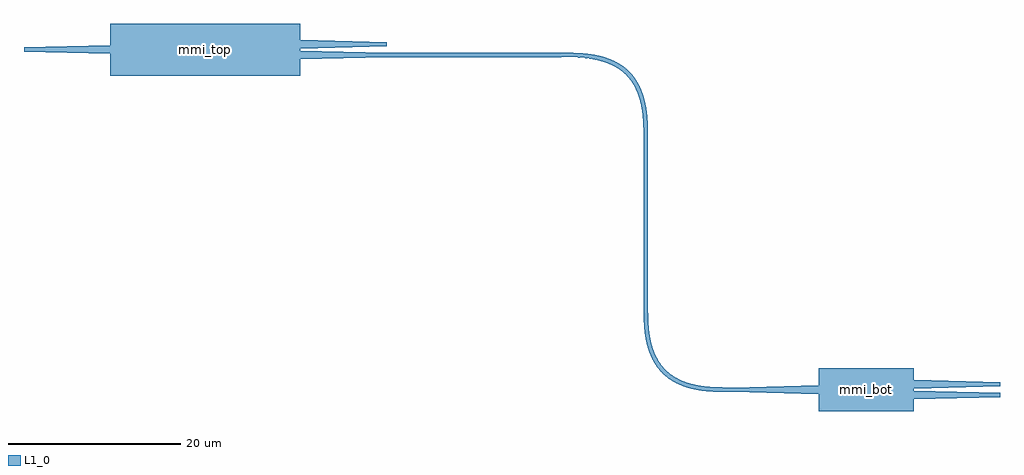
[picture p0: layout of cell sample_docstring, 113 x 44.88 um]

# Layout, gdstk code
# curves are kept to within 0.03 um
from math import pi, radians
import gdstk
lib = gdstk.Library(unit=1e-6, precision=1e-09)
def R(c, l, rs):  # rectangles x0, y0, x1, y1
    for r in rs: c.add(gdstk.rectangle(r[:2], r[2:], *l))
def P(c, l, *ps):  # polygons
    for p in ps: c.add(gdstk.Polygon(p, *l))
L1_0 = (1, 0)

mmi1x2_length_mmi11_widt = lib.new_cell('mmi1x2_length_mmi11_width_mmi5')
R(mmi1x2_length_mmi11_widt, L1_0, [(-5.5,-2.5,5.5,2.5)])
P(mmi1x2_length_mmi11_widt, L1_0, [(15.5,-0.875),(5.5,-1.125),(5.5,-0.125),(15.5,-0.375)],
  [(15.5,0.375),(5.5,0.125),(5.5,1.125),(15.5,0.875)],
  [(-15.5,0.25),(-5.5,0.5),(-5.5,-0.5),(-15.5,-0.25)])

mmi1x2_length_mmi22_widt = lib.new_cell('mmi1x2_length_mmi22_width_mmi6')
R(mmi1x2_length_mmi22_widt, L1_0, [(-11,-3,11,3)])
P(mmi1x2_length_mmi22_widt, L1_0, [(21,-0.875),(11,-1.125),(11,-0.125),(21,-0.375)],
  [(21,0.375),(11,0.125),(11,1.125),(21,0.875)],
  [(-21,0.25),(-11,0.5),(-11,-0.5),(-21,-0.25)])

bend_euler_cross_sectio_ = lib.new_cell('bend_euler_cross_sectio_a3a0edf9')
P(bend_euler_cross_sectio_, L1_0, [(0,-0.25),(1.602,-0.235),(2.93,-0.158),(3.973,-0.02),(4.865,0.175),(5.829,0.491),(6.664,0.882),(7.404,1.353),(8.073,1.927),(8.647,2.596),(9.118,3.336),(9.509,4.171),(9.825,5.135),(10.02,6.027),(10.158,7.07),(10.235,8.398),(10.25,10),(9.75,10),(9.731,8.272),(9.651,7.025),(9.494,5.933),(9.213,4.826),(8.921,4.063),(8.591,3.419),(8.163,2.785),(7.751,2.313),(7.215,1.837),(6.581,1.409),(5.937,1.079),(5.217,0.801),(4.247,0.542),(2.975,0.349),(1.728,0.269),(0,0.25)])

straight_cross_sectionc_ = lib.new_cell('straight_cross_sectionc_8659683a')
R(straight_cross_sectionc_, L1_0, [(0,-0.25,19.99,0.25)])

c_straight_cross_sectionc_ = lib.new_cell('straight_cross_sectionc_ef39ce73')
R(c_straight_cross_sectionc_, L1_0, [(0,-0.25,18.75,0.25)])

c_straight_cross_sectionc__ = lib.new_cell('straight_cross_sectionc_aca44847')
R(c_straight_cross_sectionc__, L1_0, [(0,-0.25,0.01,0.25)])

sample_docstring = lib.new_cell('sample_docstring')
sample_docstring.add(gdstk.Reference(mmi1x2_length_mmi11_widt, (97.5,-39.375)))
sample_docstring.add(gdstk.Reference(mmi1x2_length_mmi22_widt, (21,0)))
sample_docstring.add(gdstk.Reference(bend_euler_cross_sectio_, (61.99,-0.625), x_reflection=True))
sample_docstring.add(gdstk.Reference(bend_euler_cross_sectio_, (71.99,-29.375), rotation=3*pi/2))
sample_docstring.add(gdstk.Reference(straight_cross_sectionc_, (42,-0.625)))
sample_docstring.add(gdstk.Reference(c_straight_cross_sectionc_, (71.99,-10.625), rotation=3*pi/2))
sample_docstring.add(gdstk.Reference(c_straight_cross_sectionc__, (81.99,-39.375)))
sample_docstring.add(gdstk.Label('mmi_bot', (97.5,-39.375), layer=206, texttype=0))
sample_docstring.add(gdstk.Label('mmi_top', (21,0), layer=206, texttype=0))

lib.write_gds('sample_docstring.gds')
